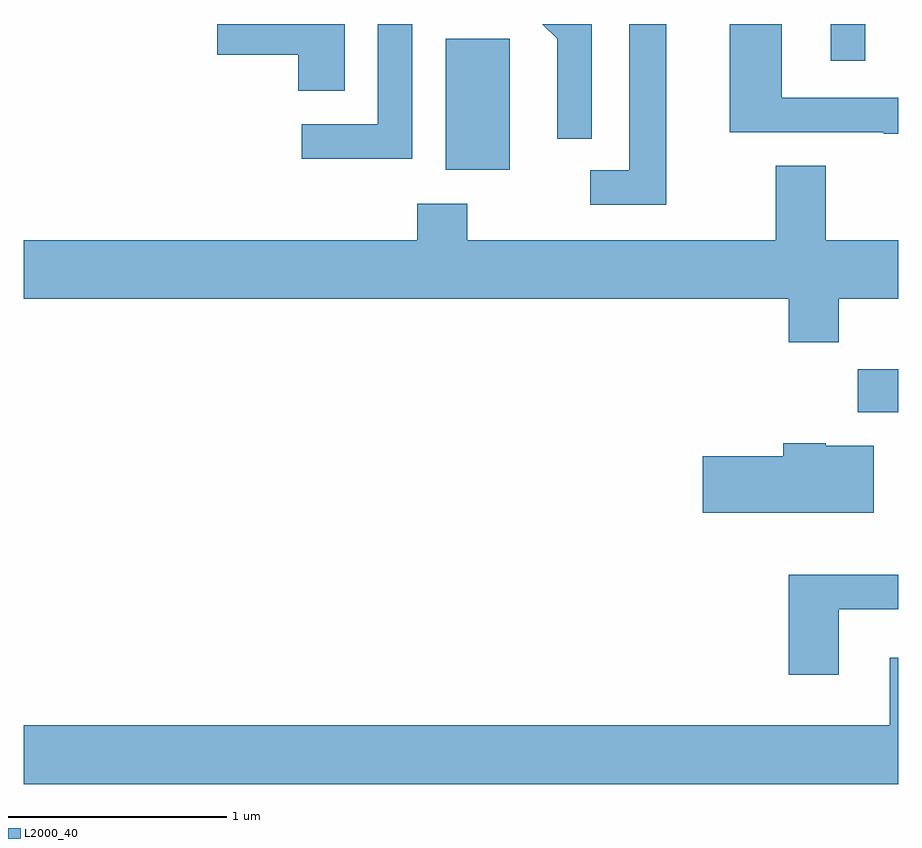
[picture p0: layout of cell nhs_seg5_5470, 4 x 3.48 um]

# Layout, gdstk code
import gdstk
lib = gdstk.Library(unit=1e-6, precision=1e-09)
def R(c, l, rs):  # rectangles x0, y0, x1, y1
    for r in rs: c.add(gdstk.rectangle(r[:2], r[2:], *l))
def P(c, l, *ps):  # polygons
    for p in ps: c.add(gdstk.Polygon(p, *l))
L2000_40 = (2000, 40)

nhs_seg5_5470 = lib.new_cell('nhs_seg5_5470')
R(nhs_seg5_5470, L2000_40, [(351.426,1436.296,351.611,1436.494), (349.541,1437.406,349.834,1438.004), (351.301,1437.903,351.459,1438.072)])
P(nhs_seg5_5470, L2000_40, [(349.389,1438.072),(349.231,1438.072),(349.231,1437.614),(348.883,1437.614),(348.883,1437.456),(349.389,1437.456)],
  [(350.209,1438.072),(349.983,1438.072),(350.051,1438.004),(350.051,1437.548),(350.209,1437.548)],
  [(349.079,1438.072),(348.496,1438.072),(348.496,1437.931),(348.866,1437.931),(348.866,1437.766),(349.079,1437.766)],
  [(350.549,1438.072),(350.381,1438.072),(350.381,1437.404),(350.203,1437.404),(350.203,1437.246),(350.549,1437.246)],
  [(351.611,1437.734),(351.079,1437.734),(351.079,1438.072),(350.841,1438.072),(350.841,1437.576),(351.545,1437.576),(351.545,1437.571),(351.611,1437.571)],
  [(351.339,1436.816),(351.611,1436.816),(351.611,1437.084),(351.279,1437.084),(351.279,1437.424),(351.051,1437.424),(351.051,1437.084),(349.639,1437.084),(349.639,1437.249),(349.411,1437.249),(349.411,1437.084),(347.611,1437.084),(347.611,1436.816),(351.111,1436.816),(351.111,1436.616),(351.339,1436.616)],
  [(351.499,1436.144),(351.28,1436.144),(351.28,1436.154),(351.086,1436.154),(351.086,1436.094),(350.716,1436.094),(350.716,1435.836),(351.499,1435.836)],
  [(351.339,1435.396),(351.611,1435.396),(351.611,1435.554),(351.111,1435.554),(351.111,1435.096),(351.339,1435.096)],
  [(351.611,1435.174),(351.571,1435.174),(351.571,1434.864),(347.611,1434.864),(347.611,1434.596),(351.611,1434.596)])

lib.write_gds('nhs_seg5_5470.gds')
